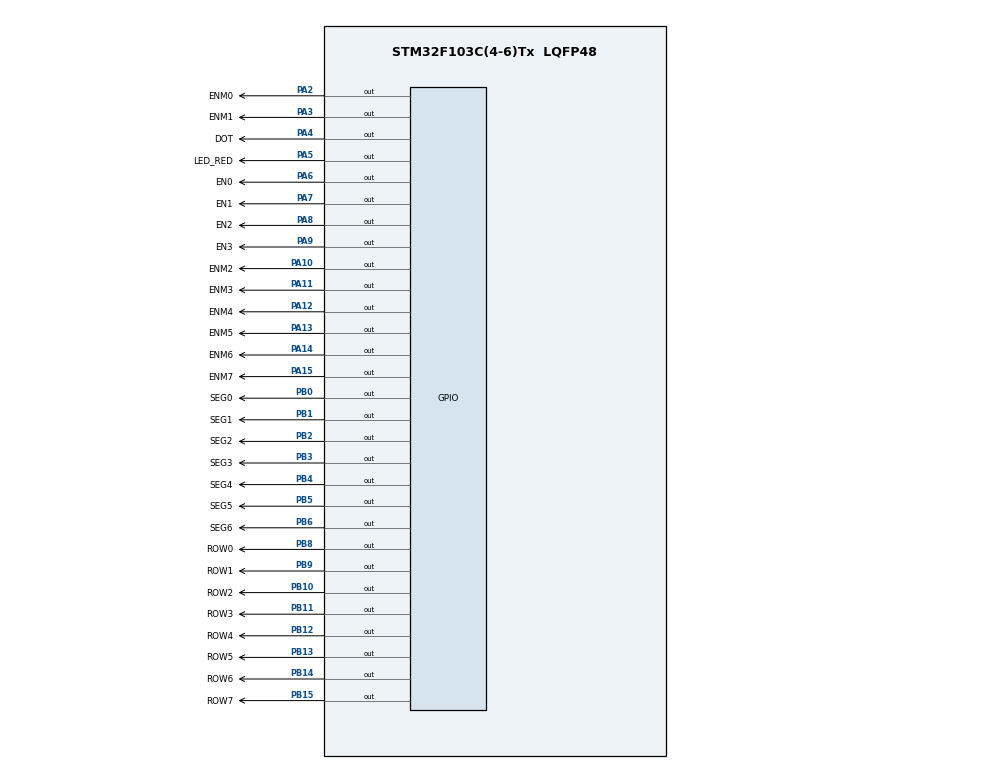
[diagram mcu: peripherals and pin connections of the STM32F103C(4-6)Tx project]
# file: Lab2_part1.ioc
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Mcu.Family=STM32F1
Mcu.Name=STM32F103C(4-6)Tx
Mcu.Package=LQFP48
NVIC.PriorityGroup=NVIC_PRIORITYGROUP_4
NVIC.TIM2_IRQn=true\:0\:0\:false\:false\:true\:true\:true
PA10.GPIO_Label=ENM2
PA10.Signal=GPIO_Output
PA11.GPIO_Label=ENM3
PA11.Signal=GPIO_Output
PA12.GPIO_Label=ENM4
PA12.Signal=GPIO_Output
PA13.GPIO_Label=ENM5
PA13.Signal=GPIO_Output
PA14.GPIO_Label=ENM6
PA14.Signal=GPIO_Output
PA15.GPIO_Label=ENM7
PA15.Signal=GPIO_Output
PA2.GPIO_Label=ENM0
PA2.Signal=GPIO_Output
PA3.GPIO_Label=ENM1
PA3.Signal=GPIO_Output
PA4.GPIO_Label=DOT
PA4.Signal=GPIO_Output
PA5.GPIO_Label=LED_RED
PA5.Signal=GPIO_Output
PA6.GPIO_Label=EN0
PA6.Signal=GPIO_Output
PA7.GPIO_Label=EN1
PA7.Signal=GPIO_Output
PA8.GPIO_Label=EN2
PA8.Signal=GPIO_Output
PA9.GPIO_Label=EN3
PA9.Signal=GPIO_Output
PB0.GPIO_Label=SEG0
PB0.Signal=GPIO_Output
PB1.GPIO_Label=SEG1
PB1.Signal=GPIO_Output
PB10.GPIO_Label=ROW2
PB10.Signal=GPIO_Output
PB11.GPIO_Label=ROW3
PB11.Signal=GPIO_Output
PB12.GPIO_Label=ROW4
PB12.Signal=GPIO_Output
PB13.GPIO_Label=ROW5
PB13.Signal=GPIO_Output
PB14.GPIO_Label=ROW6
PB14.Signal=GPIO_Output
PB15.GPIO_Label=ROW7
PB15.Signal=GPIO_Output
PB2.GPIO_Label=SEG2
PB2.Signal=GPIO_Output
PB3.GPIO_Label=SEG3
PB3.Signal=GPIO_Output
PB4.GPIO_Label=SEG4
PB4.Signal=GPIO_Output
PB5.GPIO_Label=SEG5
PB5.Signal=GPIO_Output
PB6.GPIO_Label=SEG6
PB6.Signal=GPIO_Output
PB8.GPIO_Label=ROW0
PB8.Signal=GPIO_Output
PB9.GPIO_Label=ROW1
PB9.Signal=GPIO_Output
ProjectManager.HeapSize=0x200
ProjectManager.StackSize=0x400
ProjectManager.TargetToolchain=STM32CubeIDE
RCC.APB1Freq_Value=8000000
RCC.APB2Freq_Value=8000000
TIM2.Period=9
TIM2.Prescaler=7999
VP_SYS_VS_ND.Mode=No_Debug
VP_TIM2_VS_ClockSourceINT.Mode=Internal
board=custom

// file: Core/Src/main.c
/* USER CODE BEGIN Header */
/**
  ******************************************************************************
  * @file           : main.c
  * @brief          : Main program body
  ******************************************************************************
  * @attention
  *
  * <h2><center>&copy; Copyright (c) 2026 STMicroelectronics.
  * All rights reserved.</center></h2>
  *
  * This software component is licensed by ST under BSD 3-Clause license,
  * the "License"; You may not use this file except in compliance with the
  * License. You may obtain a copy of the License at:
  *                        opensource.org/licenses/BSD-3-Clause
  *
  ******************************************************************************
  */
/* USER CODE END Header */
#include "main.h"

/* USER CODE BEGIN PD */
/* Chọn bài demo: 1, 2, 4 hoặc 5 */
#define EXERCISE        4
#define TIMER_CYCLE_MS  10    // TIM2: 8MHz/(7999+1)/(9+1) = 100Hz -> ngắt mỗi 10ms
#define SWITCH_PERIOD_MS 500  // Ex1, Ex2: mỗi LED 7 đoạn sáng 500ms
#define SCAN_PERIOD_MS  250   // mỗi LED sáng 250ms -> quét đủ 4 LED mất 1s -> tần số quét 1Hz
#define DOT_PERIOD_MS   500   // DOT đảo trạng thái mỗi 500ms -> nháy 1 lần mỗi giây
/* USER CODE END PD */

TIM_HandleTypeDef htim2;

/* USER CODE BEGIN PV */
const int MAX_LED = 4;
int index_led = 0;
volatile int led_buffer[4] = {1, 2, 3, 4};
int hour = 15, minute = 8, second = 50;

/* Bảng chân để duyệt bằng vòng lặp */
static GPIO_TypeDef* const SEG_PORT[7] = {SEG0_GPIO_Port, SEG1_GPIO_Port, SEG2_GPIO_Port,
                                          SEG3_GPIO_Port, SEG4_GPIO_Port, SEG5_GPIO_Port, SEG6_GPIO_Port};
static const uint16_t SEG_PIN[7] = {SEG0_Pin, SEG1_Pin, SEG2_Pin, SEG3_Pin, SEG4_Pin, SEG5_Pin, SEG6_Pin};
static GPIO_TypeDef* const EN_PORT[4] = {EN0_GPIO_Port, EN1_GPIO_Port, EN2_GPIO_Port, EN3_GPIO_Port};
static const uint16_t EN_PIN[4] = {EN0_Pin, EN1_Pin, EN2_Pin, EN3_Pin};

/* Mã 7 đoạn: bit0 = a ... bit6 = g, bit = 1 nghĩa là đoạn sáng */
static const uint8_t SEG_CODE[10] = {0x3F, 0x06, 0x5B, 0x4F, 0x66, 0x6D, 0x7D, 0x07, 0x7F, 0x6F};
/* USER CODE END PV */

void SystemClock_Config(void);
static void MX_GPIO_Init(void);
static void MX_TIM2_Init(void);

/* USER CODE BEGIN 0 */
/* Common anode: đoạn sáng khi chân SEG ở mức THẤP */
void display7SEG(int num) {
  if (num < 0 || num > 9) num = 0;
  uint8_t code = SEG_CODE[num];
  for (int i = 0; i < 7; i++) {
    HAL_GPIO_WritePin(SEG_PORT[i], SEG_PIN[i],
                      ((code >> i) & 1) ? GPIO_PIN_RESET : GPIO_PIN_SET);
  }
}

static void disableAll7SEG(void) {
  for (int i = 0; i < 4; i++) {
    HAL_GPIO_WritePin(EN_PORT[i], EN_PIN[i], GPIO_PIN_SET);  // PNP tắt khi EN ở mức CAO
  }
}

/* Ex3: hiển thị led_buffer[index] lên con 7-seg thứ index */
void update7SEG(int index) {
  disableAll7SEG();  // tắt hết trước để tránh bóng mờ sang con kế tiếp
  switch (index) {
    case 0:
      display7SEG(led_buffer[0]);
      HAL_GPIO_WritePin(EN0_GPIO_Port, EN0_Pin, GPIO_PIN_RESET);
      break;
    case 1:
      display7SEG(led_buffer[1]);
      HAL_GPIO_WritePin(EN1_GPIO_Port, EN1_Pin, GPIO_PIN_RESET);
      break;
    case 2:
      display7SEG(led_buffer[2]);
      HAL_GPIO_WritePin(EN2_GPIO_Port, EN2_Pin, GPIO_PIN_RESET);
      break;
    case 3:
      display7SEG(led_buffer[3]);
      HAL_GPIO_WritePin(EN3_GPIO_Port, EN3_Pin, GPIO_PIN_RESET);
      break;
    default:
      break;
  }
}

/* Ex5: tách giờ/phút thành 4 chữ số, tự thêm số 0 khi chỉ có 1 chữ số */
void updateClockBuffer(void) {
  led_buffer[0] = hour / 10;
  led_buffer[1] = hour % 10;
  led_buffer[2] = minute / 10;
  led_buffer[3] = minute % 10;
}
/* USER CODE END 0 */

int main(void)
{

  /* MCU Configuration--------------------------------------------------------*/

  /* Reset of all peripherals, Initializes the Flash interface and the Systick. */
  HAL_Init();

  /* Configure the system clock */
  SystemClock_Config();

  /* Initialize all configured peripherals */
  MX_GPIO_Init();
  MX_TIM2_Init();
  /* USER CODE BEGIN 2 */
  disableAll7SEG();
#if EXERCISE == 5
  updateClockBuffer();
#endif
  HAL_TIM_Base_Start_IT(&htim2);
  /* USER CODE END 2 */

  /* Infinite loop */
  while (1)
  {

    /* USER CODE BEGIN 3 */
#if EXERCISE == 5
    second++;
    if (second >= 60) { second = 0; minute++; }
    if (minute >= 60) { minute = 0; hour++; }
    if (hour >= 24)   { hour = 0; }
    updateClockBuffer();
    HAL_Delay(1000);
#endif
  }
  /* USER CODE END 3 */
}

void SystemClock_Config(void)
{
  RCC_OscInitTypeDef RCC_OscInitStruct = {0};
  RCC_ClkInitTypeDef RCC_ClkInitStruct = {0};

  /** Initializes the RCC Oscillators according to the specified parameters
  * in the RCC_OscInitTypeDef structure.
  */
  RCC_OscInitStruct.OscillatorType = RCC_OSCILLATORTYPE_HSI;
  RCC_OscInitStruct.HSIState = RCC_HSI_ON;
  RCC_OscInitStruct.HSICalibrationValue = RCC_HSICALIBRATION_DEFAULT;
  RCC_OscInitStruct.PLL.PLLState = RCC_PLL_NONE;
  if (HAL_RCC_OscConfig(&RCC_OscInitStruct) != HAL_OK)
  {
    Error_Handler();
  }
  /** Initializes the CPU, AHB and APB buses clocks
  */
  RCC_ClkInitStruct.ClockType = RCC_CLOCKTYPE_HCLK|RCC_CLOCKTYPE_SYSCLK
                              |RCC_CLOCKTYPE_PCLK1|RCC_CLOCKTYPE_PCLK2;
  RCC_ClkInitStruct.SYSCLKSource = RCC_SYSCLKSOURCE_HSI;
  RCC_ClkInitStruct.AHBCLKDivider = RCC_SYSCLK_DIV1;
  RCC_ClkInitStruct.APB1CLKDivider = RCC_HCLK_DIV1;
  RCC_ClkInitStruct.APB2CLKDivider = RCC_HCLK_DIV1;

  if (HAL_RCC_ClockConfig(&RCC_ClkInitStruct, FLASH_LATENCY_0) != HAL_OK)
  {
    Error_Handler();
  }
}

static void MX_TIM2_Init(void)
{

  TIM_ClockConfigTypeDef sClockSourceConfig = {0};
  TIM_MasterConfigTypeDef sMasterConfig = {0};

  htim2.Instance = TIM2;
  htim2.Init.Prescaler = 7999;
  htim2.Init.CounterMode = TIM_COUNTERMODE_UP;
  htim2.Init.Period = 9;
  htim2.Init.ClockDivision = TIM_CLOCKDIVISION_DIV1;
  htim2.Init.AutoReloadPreload = TIM_AUTORELOAD_PRELOAD_DISABLE;
  if (HAL_TIM_Base_Init(&htim2) != HAL_OK)
  {
    Error_Handler();
  }
  sClockSourceConfig.ClockSource = TIM_CLOCKSOURCE_INTERNAL;
  if (HAL_TIM_ConfigClockSource(&htim2, &sClockSourceConfig) != HAL_OK)
  {
    Error_Handler();
  }
  sMasterConfig.MasterOutputTrigger = TIM_TRGO_RESET;
  sMasterConfig.MasterSlaveMode = TIM_MASTERSLAVEMODE_DISABLE;
  if (HAL_TIMEx_MasterConfigSynchronization(&htim2, &sMasterConfig) != HAL_OK)
  {
    Error_Handler();
  }

}

static void MX_GPIO_Init(void)
{
  GPIO_InitTypeDef GPIO_InitStruct = {0};

  /* GPIO Ports Clock Enable */
  __HAL_RCC_GPIOA_CLK_ENABLE();
  __HAL_RCC_GPIOB_CLK_ENABLE();

  /*Configure GPIO pin Output Level */
  HAL_GPIO_WritePin(GPIOA, ENM0_Pin|ENM1_Pin|DOT_Pin|LED_RED_Pin
                          |EN0_Pin|EN1_Pin|EN2_Pin|EN3_Pin
                          |ENM2_Pin|ENM3_Pin|ENM4_Pin|ENM5_Pin
                          |ENM6_Pin|ENM7_Pin, GPIO_PIN_RESET);

  /*Configure GPIO pin Output Level */
  HAL_GPIO_WritePin(GPIOB, SEG0_Pin|SEG1_Pin|SEG2_Pin|ROW2_Pin
                          |ROW3_Pin|ROW4_Pin|ROW5_Pin|ROW6_Pin
                          |ROW7_Pin|SEG3_Pin|SEG4_Pin|SEG5_Pin
                          |SEG6_Pin|ROW0_Pin|ROW1_Pin, GPIO_PIN_RESET);

  /*Configure GPIO pins : ENM0_Pin ENM1_Pin DOT_Pin LED_RED_Pin
                           EN0_Pin EN1_Pin EN2_Pin EN3_Pin
                           ENM2_Pin ENM3_Pin ENM4_Pin ENM5_Pin
                           ENM6_Pin ENM7_Pin */
  GPIO_InitStruct.Pin = ENM0_Pin|ENM1_Pin|DOT_Pin|LED_RED_Pin
                          |EN0_Pin|EN1_Pin|EN2_Pin|EN3_Pin
                          |ENM2_Pin|ENM3_Pin|ENM4_Pin|ENM5_Pin
                          |ENM6_Pin|ENM7_Pin;
  GPIO_InitStruct.Mode = GPIO_MODE_OUTPUT_PP;
  GPIO_InitStruct.Pull = GPIO_NOPULL;
  GPIO_InitStruct.Speed = GPIO_SPEED_FREQ_LOW;
  HAL_GPIO_Init(GPIOA, &GPIO_InitStruct);

  /*Configure GPIO pins : SEG0_Pin SEG1_Pin SEG2_Pin ROW2_Pin
                           ROW3_Pin ROW4_Pin ROW5_Pin ROW6_Pin
                           ROW7_Pin SEG3_Pin SEG4_Pin SEG5_Pin
                           SEG6_Pin ROW0_Pin ROW1_Pin */
  GPIO_InitStruct.Pin = SEG0_Pin|SEG1_Pin|SEG2_Pin|ROW2_Pin
                          |ROW3_Pin|ROW4_Pin|ROW5_Pin|ROW6_Pin
                          |ROW7_Pin|SEG3_Pin|SEG4_Pin|SEG5_Pin
                          |SEG6_Pin|ROW0_Pin|ROW1_Pin;
  GPIO_InitStruct.Mode = GPIO_MODE_OUTPUT_PP;
  GPIO_InitStruct.Pull = GPIO_NOPULL;
  GPIO_InitStruct.Speed = GPIO_SPEED_FREQ_LOW;
  HAL_GPIO_Init(GPIOB, &GPIO_InitStruct);

}

/* USER CODE BEGIN 4 */
int scan_counter = SCAN_PERIOD_MS / TIMER_CYCLE_MS;
int dot_counter  = DOT_PERIOD_MS / TIMER_CYCLE_MS;

#if EXERCISE == 1 || EXERCISE == 2
int switch_counter = SWITCH_PERIOD_MS / TIMER_CYCLE_MS;
int led_status = 0;   // con 7-seg đang được bật
#endif

/* Được gọi mỗi 10ms */
void HAL_TIM_PeriodElapsedCallback(TIM_HandleTypeDef *htim) {
  if (htim->Instance != TIM2) return;

#if EXERCISE == 1
  /* Ex1: 2 LED 7 đoạn, hiện "1" và "2", đổi LED mỗi 500ms */
  switch_counter--;
  if (switch_counter <= 0) {
    switch_counter = SWITCH_PERIOD_MS / TIMER_CYCLE_MS;
    disableAll7SEG();
    if (led_status == 0) {
      display7SEG(1);
      HAL_GPIO_WritePin(EN0_GPIO_Port, EN0_Pin, GPIO_PIN_RESET);
      led_status = 1;
    } else {
      display7SEG(2);
      HAL_GPIO_WritePin(EN1_GPIO_Port, EN1_Pin, GPIO_PIN_RESET);
      led_status = 0;
    }
  }
#elif EXERCISE == 2
  /* Ex2: 4 LED 7 đoạn hiện "12 30", đổi LED mỗi 500ms, DOT nháy mỗi giây */
  switch_counter--;
  if (switch_counter <= 0) {
    switch_counter = SWITCH_PERIOD_MS / TIMER_CYCLE_MS;
    disableAll7SEG();
    switch (led_status) {
      case 0:
        display7SEG(1);
        HAL_GPIO_WritePin(EN0_GPIO_Port, EN0_Pin, GPIO_PIN_RESET);
        break;
      case 1:
        display7SEG(2);
        HAL_GPIO_WritePin(EN1_GPIO_Port, EN1_Pin, GPIO_PIN_RESET);
        break;
      case 2:
        display7SEG(3);
        HAL_GPIO_WritePin(EN2_GPIO_Port, EN2_Pin, GPIO_PIN_RESET);
        break;
      case 3:
        display7SEG(0);
        HAL_GPIO_WritePin(EN3_GPIO_Port, EN3_Pin, GPIO_PIN_RESET);
        break;
      default:
        break;
    }
    led_status++;
    if (led_status >= 4) led_status = 0;
  }

  dot_counter--;
  if (dot_counter <= 0) {
    dot_counter = DOT_PERIOD_MS / TIMER_CYCLE_MS;
    HAL_GPIO_TogglePin(DOT_GPIO_Port, DOT_Pin);
  }
#else
  /* Ex3, Ex4, Ex5: quét 4 LED bằng update7SEG */
  scan_counter--;
  if (scan_counter <= 0) {
    scan_counter = SCAN_PERIOD_MS / TIMER_CYCLE_MS;
    update7SEG(index_led++);
    if (index_led >= MAX_LED) index_led = 0;
  }

  dot_counter--;
  if (dot_counter <= 0) {
    dot_counter = DOT_PERIOD_MS / TIMER_CYCLE_MS;
    HAL_GPIO_TogglePin(DOT_GPIO_Port, DOT_Pin);
  }
#endif
}
/* USER CODE END 4 */

void Error_Handler(void)
{
  __disable_irq();
  while (1)
  {
  }
}

/************************ (C) COPYRIGHT STMicroelectronics *****END OF FILE****/
